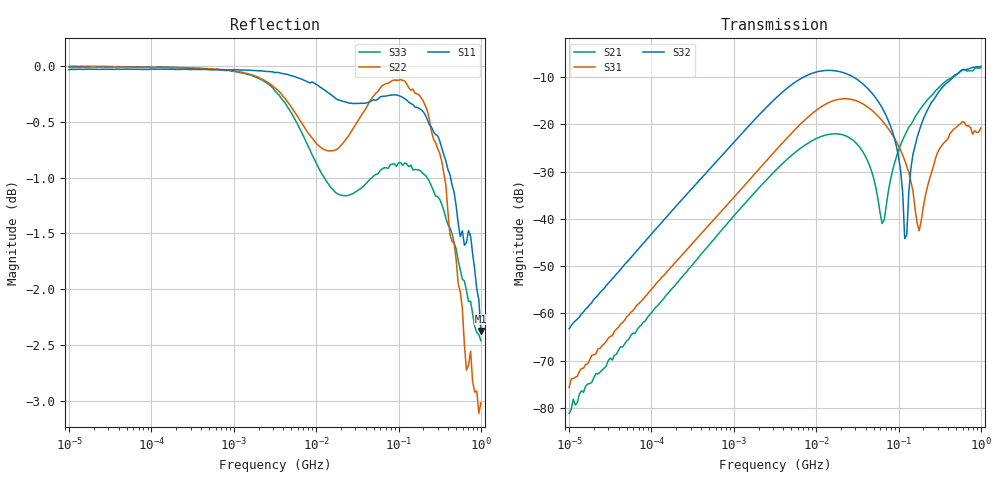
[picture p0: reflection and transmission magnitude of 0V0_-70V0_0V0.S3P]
!Keysight Technologies,E5080A,MY55100144,A.11.70.03
!Date: Monday, November 13, 2017 17:21:21
!Correction: S11(Full 3 Port(1,2,3))
!S12(Full 3 Port(1,2,3))
!S13(Full 3 Port(1,2,3))
!S21(Full 3 Port(1,2,3))
!S22(Full 3 Port(1,2,3))
!S23(Full 3 Port(1,2,3))
!S31(Full 3 Port(1,2,3))
!S32(Full 3 Port(1,2,3))
!S33(Full 3 Port(1,2,3))
!S3P File: Measurements: <S11,S12,S13>,
!<S21,S22,S23>,
!<S31,S32,S33>:Log Frequency Sweep
# Hz S  RI  R 50
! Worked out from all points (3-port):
!   201 points, 10 kHz to 1 GHz, reference 50 ohm
!   strongest paths, dB at 10 kHz, 177.8 kHz, 3.162 MHz, 56.23 MHz, 1 GHz:
!     S32: -63.3, -38.3, -14.6, -15.1, -7.7
!     S31: -75.7, -50.0, -25.7, -18.2, -20.8
!     S21: -81.2, -54.7, -29.9, -35.8, -8.0
!   lowest |S11| = -2.4 dB at 1 GHz (marker M1), VSWR 7.36, Z = 367 + j15.8 ohm
!   |S11| at or under -10 dB: nowhere
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10000  0.9965 -0.000963  -6.63e-06 0.000102  3.5e-06 0.000159
       -5.27e-06 8.74e-05  0.9988 -0.00334  1.93e-05 0.000685
       9.94e-07 0.000165  2.16e-05 0.000687  1 -0.00234
3162278  0.9256 -0.3609  0.0125 0.0295  0.0149 0.05
         0.0125 0.0296  0.7116 -0.6708  0.0947 0.1602
         0.0149 0.0499  0.095 0.1602  0.9349 -0.2767
1.778279e7  -0.0667 -0.9642  0.0791 0.00567  0.1791 0.0333
            0.0793 0.00558  -0.6168 -0.6794  0.3595 -0.0744
            0.1792 0.0331  0.3593 -0.0743  0.2935 -0.8263
6.309573e7  -0.9104 -0.3331  0.00887 0.00156  0.0525 -0.0965
            0.00882 0.00154  -0.9799 -0.0154  0.048 -0.1425
            0.0524 -0.0966  0.0479 -0.1425  -0.7135 -0.5474
9.440609e7  -0.9678 -0.0753  0.00561 0.0454  0.0119 -0.0642
            0.00558 0.0453  -0.9594 0.226  0.00187 -0.0583
            0.0119 -0.0642  0.00191 -0.0582  -0.8596 -0.2723
1.188502e8  -0.9644 0.0732  0.0182 0.0741  0.00191 -0.0418
            0.0182 0.0741  -0.9111 0.374  -0.000839 -0.00615
            0.00189 -0.0418  -0.00081 -0.00613  -0.8984 -0.108
1.778279e8  -0.8952 0.3394  0.071 0.1202  0.00621 -0.00406
            0.0711 0.1203  -0.7352 0.6339  0.0401 0.075
            0.00629 -0.00403  0.0402 0.075  -0.8796 0.1826
3.758374e8  -0.4232 0.802  0.2827 0.0503  0.0663 -0.00685
            0.2829 0.0504  0.0682 0.8815  0.263 0.0625
            0.0663 -0.00685  0.2628 0.0625  -0.5085 0.6869
7.079458e8  0.4435 0.7179  0.2061 -0.3045  0.00562 -0.0969
            0.2059 -0.3048  0.6992 0.2249  0.245 -0.2979
            0.00557 -0.0968  0.2452 -0.2976  0.2553 0.7414
1e9  0.7607 0.00909  -0.0928 -0.3884  -0.0567 -0.0719
     -0.0932 -0.3884  0.5908 -0.3869  -0.0445 -0.4108
     -0.0568 -0.0718  -0.0442 -0.4108  0.6862 0.3102
